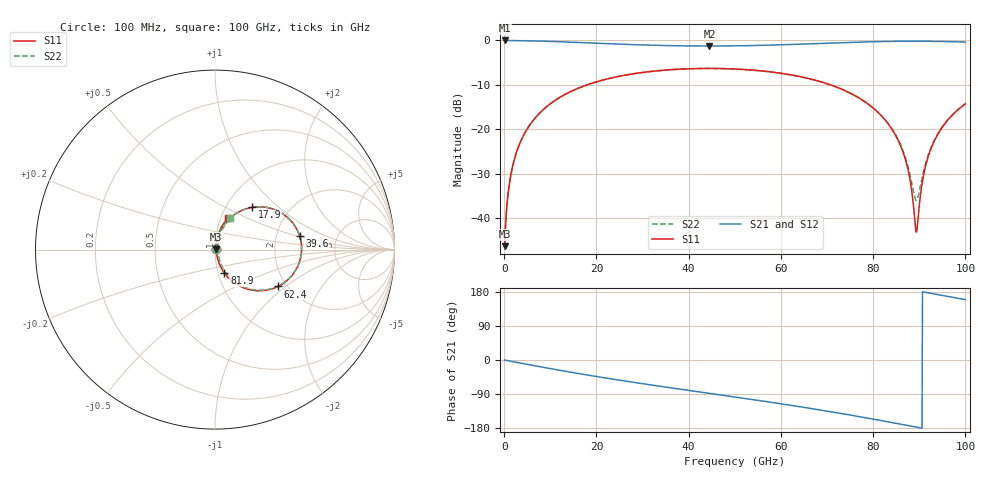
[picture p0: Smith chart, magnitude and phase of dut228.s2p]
! Touchstone file exported from HFSS 2026.1.0
!  File:  C:/ffzhzh/LocalFiles/Ansys_Project_Files/temp_train_RDL_228_1783501136_31944.aedt
!  Generated:  05:00:18 PM Jul  8, 2026
!  Design:  RDL
!  Project:  temp_train_RDL_228_1783501136_31944
! Variables:
!  h_bsmrdl = 2um
!  h_ox = 20um
!  h_rdl = 5um
!  h_sub = 80um
!  h_tmrdl = 2.63um
!  h_tsv = 80um
!  h_via = 3um
!  l_bsmrdl = 300um
!  l_sub = 1069.96um
!  l_tmrdl = 669.96um
!  m_sub = 200um
!  pitch = 41.28um
!  r_tsv = 6um
!  s_tmrdl = 10um
!  w_bsmrdl = 18um
!  w_sub = 500um
!  w_tmrdl = 22.6um
!  x_tsv_center1 = 681.26um
!  x_tsv_center2 = 999.26um
!  x_tsv_center3 = 1691.82um
!  x_tsv_center4 = 2009.82um
!  x_tsv_center5 = 2702.38um
!  x_tsv_center6 = 3020.38um
# GHz S MA R 50.000000
! Terminal data exported
! Port[1] = TM_RDL1_1_T1
! Port[2] = TM_RDL1_1_T2
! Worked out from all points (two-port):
!   1000 points, 100 MHz to 100 GHz, reference 50 ohm
!   highest |S21| = -0.04 dB at 100 MHz (marker M1); lowest = -1.3 dB at 44.5 GHz (marker M2)
!   |S21| within 3 dB of the highest: start of sweep to end of sweep
!   lowest |S11| = -46.3 dB at 100 MHz (marker M3), VSWR 1.01, Z = 50.4 + j0.237 ohm
!   |S11| at or under -10 dB: start of sweep to 18.03 GHz; 70.67 GHz to end of sweep
!   |S22| runs from -46.3 to -6.3 dB; largest |S21 - S12| = 1.8e-14
!   S11 on the Smith chart (normalised r, x): 100 MHz: 1.01, +0.00; 17.9 GHz: 1.32, +0.69; 39.6 GHz: 2.71, +0.53; 62.4 GHz: 1.80, -0.89; 81.9 GHz: 1.07, -0.28; 100 GHz: 1.09, +0.40
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0.1  0.004845 29.0  0.9958 -0.3  0.9958 -0.3  0.004845 29.0
! Gamma 0 0 0 0
! Port Impedance 50 0 50 0
0.9  0.01983 71.9  0.9943 -2.1  0.9943 -2.1  0.01983 71.9
1.6  0.03359 76.3  0.9936 -3.7  0.9936 -3.7  0.03359 76.3
4.3  0.08717 75.7  0.9895 -9.9  0.9895 -9.9  0.08717 75.7
9.2  0.1792 66.2  0.9749 -20.9  0.9749 -20.9  0.1792 66.2
16.8  0.2996 50.7  0.9421 -37.1  0.9421 -37.1  0.2996 50.7
17.9  0.3145 48.5  0.937 -39.3  0.937 -39.3  0.3145 48.5
33.4  0.455 19.9  0.8767 -68.7  0.8767 -68.7  0.455 19.9
39.6  0.4775 9.2  0.8649 -79.6  0.8649 -79.6  0.4775 9.3
44.5  0.4826 0.9  0.862 -88.0  0.862 -88.0  0.4827 1.0
50.1  0.4751 -8.6  0.8658 -97.8  0.8658 -97.8  0.4752 -8.5
62.4  0.4063 -30.4  0.8981 -120.0  0.8981 -120.0  0.4064 -30.0
66.7  0.3641 -38.4  0.9147 -128.3  0.9147 -128.3  0.3642 -37.9
75.6  0.2456 -55.9  0.9502 -146.5  0.9502 -146.5  0.2459 -54.6
81.9  0.1397 -68.2  0.969 -160.2  0.969 -160.2  0.1402 -65.3
83.4  0.1125 -70.8  0.972 -163.6  0.972 -163.6  0.1132 -67.1
87  0.04554 -73.5  0.9763 -171.7  0.9763 -171.7  0.04758 -63.6
89.4  0.006972 7.1  0.9766 -177.1  0.9766 -177.1  0.0159 4.2
91  0.0317 76.1  0.9757 179.3  0.9757 179.3  0.0349 60.9
92.8  0.06517 78.7  0.9737 175.2  0.9737 175.2  0.06685 70.3
95.8  0.1201 74.9  0.968 168.5  0.968 168.5  0.1211 69.9
100  0.1928 67.1  0.9559 159.3  0.9559 159.3  0.1934 63.6
